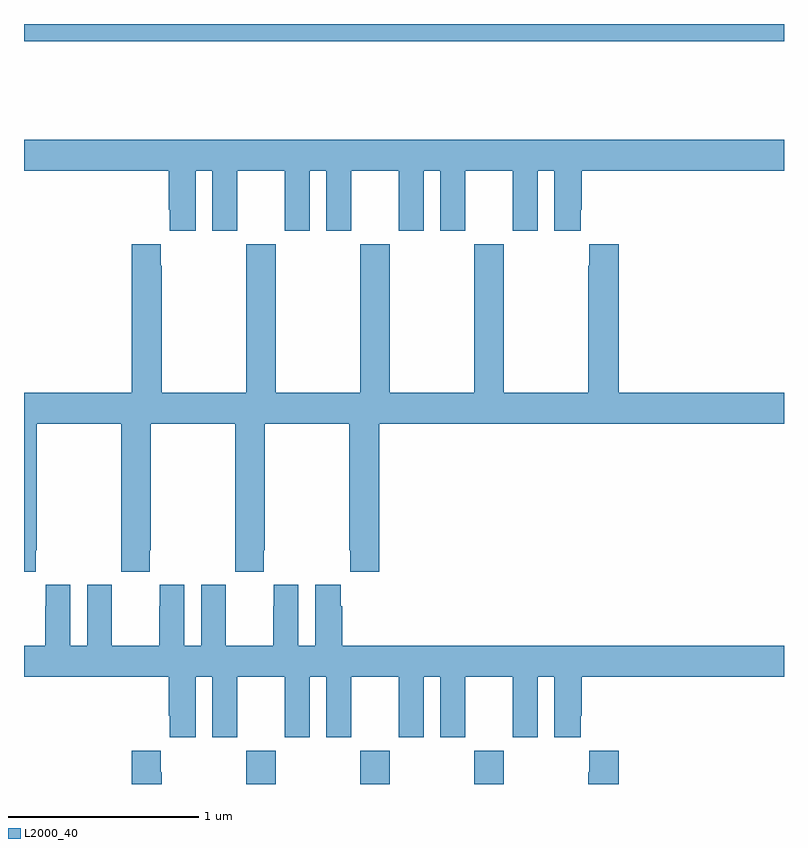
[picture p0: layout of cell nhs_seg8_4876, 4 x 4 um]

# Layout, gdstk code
import gdstk
lib = gdstk.Library(unit=1e-6, precision=1e-09)
def R(c, l, rs):  # rectangles x0, y0, x1, y1
    for r in rs: c.add(gdstk.rectangle(r[:2], r[2:], *l))
def A(c, l, x, y, w, h, nx, ny, dx, dy):  # array of equal rectangles
    R(c, l, [(x+i*dx, y+j*dy, x+i*dx+w, y+j*dy+h) for i in range(nx) for j in range(ny)])
def P(c, l, *ps):  # polygons
    for p in ps: c.add(gdstk.Polygon(p, *l))
L2000_40 = (2000, 40)

nhs_seg8_4876 = lib.new_cell('nhs_seg8_4876')
A(nhs_seg8_4876, L2000_40, 406.171, 1151.9, 0.155, 0.176, 3, 1, 0.6, 0)
R(nhs_seg8_4876, L2000_40, [(405,1155.808,409,1155.9)])
P(nhs_seg8_4876, L2000_40, [(405.904,1155.128),(405.992,1155.128),(405.992,1154.811),(406.123,1154.811),(406.123,1155.128),(406.373,1155.128),(406.373,1154.811),(406.504,1154.811),(406.504,1155.128),(406.592,1155.128),(406.592,1154.811),(406.723,1154.811),(406.723,1155.128),(406.973,1155.128),(406.973,1154.811),(407.104,1154.811),(407.104,1155.128),(407.192,1155.128),(407.192,1154.811),(407.323,1154.811),(407.323,1155.128),(407.573,1155.128),(407.573,1154.811),(407.704,1154.811),(407.704,1155.128),(407.792,1155.128),(407.792,1154.811),(407.929,1154.811),(407.929,1154.923),(407.936,1154.923),(407.936,1155.128),(409,1155.128),(409,1155.292),(405,1155.292),(405,1155.128),(405.761,1155.128),(405.761,1154.923),(405.767,1154.923),(405.767,1154.811),(405.904,1154.811)],
  [(405.063,1153.129),(405.066,1153.129),(405.066,1153.796),(405.511,1153.796),(405.511,1153.129),(405.513,1153.129),(405.513,1153.017),(405.663,1153.017),(405.663,1153.129),(405.666,1153.129),(405.666,1153.796),(406.111,1153.796),(406.111,1153.129),(406.113,1153.129),(406.113,1153.017),(406.263,1153.017),(406.263,1153.129),(406.266,1153.129),(406.266,1153.796),(406.711,1153.796),(406.711,1153.129),(406.717,1153.129),(406.717,1153.017),(406.871,1153.017),(406.871,1153.796),(409,1153.796),(409,1153.96),(408.131,1153.96),(408.131,1154.74),(407.975,1154.74),(407.975,1154.627),(407.971,1154.627),(407.971,1153.96),(407.526,1153.96),(407.526,1154.74),(407.371,1154.74),(407.371,1153.96),(406.926,1153.96),(406.926,1154.74),(406.771,1154.74),(406.771,1153.96),(406.326,1153.96),(406.326,1154.74),(406.171,1154.74),(406.171,1153.96),(405.726,1153.96),(405.726,1154.627),(405.721,1154.627),(405.721,1154.74),(405.566,1154.74),(405.566,1153.96),(405,1153.96),(405,1153.017),(405.063,1153.017)],
  [(405.904,1152.464),(405.992,1152.464),(405.992,1152.147),(406.123,1152.147),(406.123,1152.464),(406.373,1152.464),(406.373,1152.147),(406.504,1152.147),(406.504,1152.464),(406.592,1152.464),(406.592,1152.147),(406.723,1152.147),(406.723,1152.464),(406.973,1152.464),(406.973,1152.147),(407.104,1152.147),(407.104,1152.464),(407.192,1152.464),(407.192,1152.147),(407.323,1152.147),(407.323,1152.464),(407.573,1152.464),(407.573,1152.147),(407.704,1152.147),(407.704,1152.464),(407.792,1152.464),(407.792,1152.147),(407.929,1152.147),(407.929,1152.259),(407.936,1152.259),(407.936,1152.464),(409,1152.464),(409,1152.628),(406.676,1152.628),(406.676,1152.836),(406.666,1152.836),(406.666,1152.949),(406.532,1152.949),(406.532,1152.628),(406.444,1152.628),(406.444,1152.949),(406.314,1152.949),(406.314,1152.836),(406.313,1152.836),(406.313,1152.628),(406.063,1152.628),(406.063,1152.836),(406.062,1152.836),(406.062,1152.949),(405.932,1152.949),(405.932,1152.628),(405.844,1152.628),(405.844,1152.949),(405.714,1152.949),(405.714,1152.836),(405.713,1152.836),(405.713,1152.628),(405.463,1152.628),(405.463,1152.836),(405.462,1152.836),(405.462,1152.949),(405.332,1152.949),(405.332,1152.628),(405.244,1152.628),(405.244,1152.949),(405.114,1152.949),(405.114,1152.836),(405.113,1152.836),(405.113,1152.628),(405,1152.628),(405,1152.464),(405.761,1152.464),(405.761,1152.259),(405.767,1152.259),(405.767,1152.147),(405.904,1152.147)],
  [(408.131,1152.076),(407.975,1152.076),(407.975,1151.963),(407.971,1151.963),(407.971,1151.9),(408.131,1151.9)],
  [(405.726,1151.963),(405.721,1151.963),(405.721,1152.076),(405.566,1152.076),(405.566,1151.9),(405.726,1151.9)])

lib.write_gds('nhs_seg8_4876.gds')
